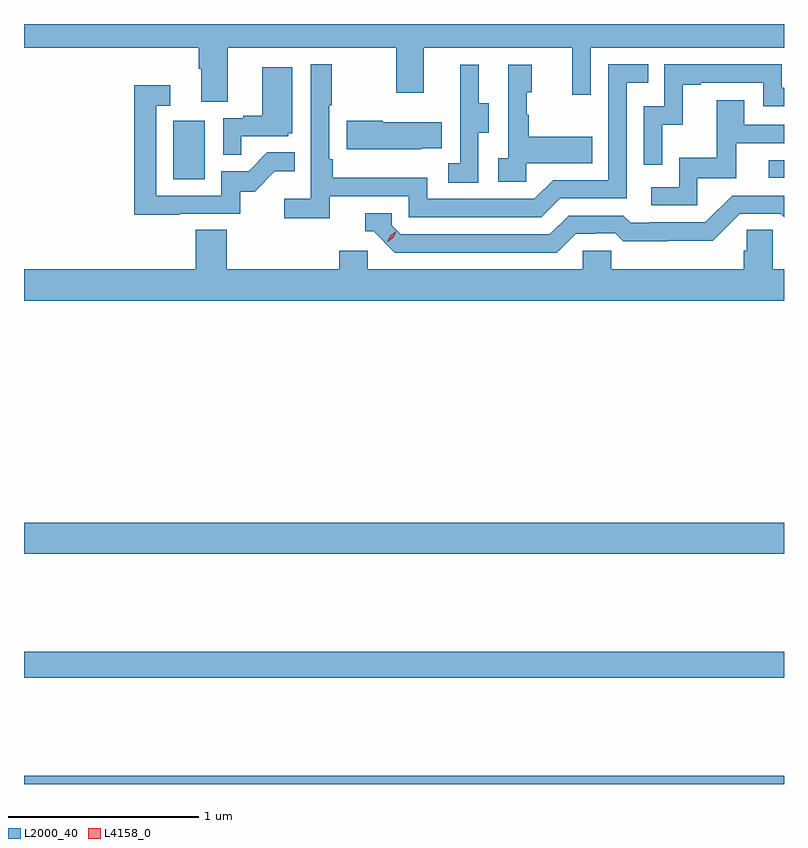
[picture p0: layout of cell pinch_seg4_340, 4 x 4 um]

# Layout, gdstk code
import gdstk
lib = gdstk.Library(unit=1e-6, precision=1e-09)
def R(c, l, rs):  # rectangles x0, y0, x1, y1
    for r in rs: c.add(gdstk.rectangle(r[:2], r[2:], *l))
def P(c, l, *ps):  # polygons
    for p in ps: c.add(gdstk.Polygon(p, *l))
L2000_40 = (2000, 40)
L4158_0 = (4158, 0)

pinch_seg4_340 = lib.new_cell('pinch_seg4_340')
R(pinch_seg4_340, L2000_40, [(1007.912,804.932,1011.912,804.976), (1007.912,805.492,1011.912,805.628), (1007.912,806.144,1011.912,806.308), (1008.698,808.116,1008.862,808.423), (1011.831,808.122,1011.912,808.215)])
P(pinch_seg4_340, L2000_40, [(1008.985,808.808),(1009.87,808.808),(1009.87,808.569),(1010.017,808.569),(1010.017,808.808),(1010.798,808.808),(1010.798,808.56),(1010.895,808.56),(1010.895,808.808),(1011.912,808.808),(1011.912,808.932),(1007.912,808.932),(1007.912,808.808),(1008.833,808.808),(1008.833,808.696),(1008.845,808.696),(1008.845,808.522),(1008.985,808.522)],
  [(1009.52,808.026),(1009.938,808.026),(1009.938,807.915),(1010.635,807.915),(1010.734,808.014),(1011.084,808.014),(1011.084,808.623),(1011.197,808.623),(1011.197,808.719),(1010.988,808.719),(1010.988,808.11),(1010.697,808.11),(1010.598,808.011),(1010.034,808.011),(1010.034,808.123),(1009.538,808.123),(1009.538,808.219),(1009.518,808.219),(1009.518,808.504),(1009.531,808.504),(1009.531,808.72),(1009.422,808.72),(1009.422,808.012),(1009.281,808.012),(1009.281,807.91),(1009.52,807.91)],
  [(1011.27,808.403),(1011.38,808.403),(1011.38,808.611),(1011.475,808.611),(1011.475,808.623),(1011.804,808.623),(1011.804,808.5),(1011.912,808.5),(1011.912,808.596),(1011.9,808.596),(1011.9,808.719),(1011.282,808.719),(1011.282,808.5),(1011.174,808.5),(1011.174,808.191),(1011.27,808.191)],
  [(1010.556,808.199),(1010.903,808.199),(1010.903,808.339),(1010.569,808.339),(1010.569,808.454),(1010.559,808.454),(1010.559,808.572),(1010.584,808.572),(1010.584,808.717),(1010.46,808.717),(1010.46,808.226),(1010.409,808.226),(1010.409,808.101),(1010.556,808.101)],
  [(1010.304,808.36),(1010.359,808.36),(1010.359,808.515),(1010.305,808.515),(1010.305,808.717),(1010.207,808.717),(1010.207,808.503),(1010.208,808.503),(1010.208,808.199),(1010.145,808.199),(1010.145,808.096),(1010.304,808.096)],
  [(1009.055,808.341),(1009.302,808.341),(1009.302,808.356),(1009.324,808.356),(1009.324,808.705),(1009.166,808.705),(1009.166,808.45),(1009.067,808.45),(1009.067,808.437),(1008.96,808.437),(1008.96,808.243),(1009.055,808.243)],
  [(1008.731,807.933),(1009.05,807.933),(1009.05,808.05),(1009.126,808.05),(1009.233,808.157),(1009.337,808.157),(1009.337,808.256),(1009.193,808.256),(1009.095,808.158),(1008.951,808.158),(1008.951,808.029),(1008.609,808.029),(1008.609,808.503),(1008.682,808.503),(1008.682,808.609),(1008.493,808.609),(1008.493,807.928),(1008.731,807.928)],
  [(1011.456,808.119),(1011.661,808.119),(1011.661,808.305),(1011.912,808.305),(1011.912,808.401),(1011.703,808.401),(1011.703,808.531),(1011.559,808.531),(1011.559,808.228),(1011.36,808.228),(1011.36,808.074),(1011.213,808.074),(1011.213,807.978),(1011.456,807.978)],
  [(1010.003,808.277),(1010.111,808.277),(1010.111,808.414),(1009.801,808.414),(1009.801,808.422),(1009.61,808.422),(1009.61,808.274),(1010.003,808.274)],
  [(1010.815,807.828),(1010.922,807.828),(1010.922,807.831),(1011.025,807.831),(1011.067,807.789),(1011.3,807.789),(1011.3,807.791),(1011.536,807.791),(1011.678,807.933),(1011.894,807.933),(1011.912,807.915),(1011.912,808.029),(1011.639,808.029),(1011.498,807.888),(1011.205,807.888),(1011.205,807.885),(1011.106,807.885),(1011.067,807.924),(1010.778,807.924),(1010.679,807.825),(1009.896,807.825),(1009.848,807.873),(1009.848,807.936),(1009.709,807.936),(1009.709,807.84),(1009.752,807.84),(1009.863,807.729),(1010.716,807.729)],
  [(1011.912,807.64),(1011.852,807.64),(1011.852,807.848),(1011.715,807.848),(1011.715,807.738),(1011.701,807.738),(1011.701,807.64),(1011.003,807.64),(1011.003,807.738),(1010.853,807.738),(1010.853,807.64),(1009.722,807.64),(1009.722,807.738),(1009.571,807.738),(1009.571,807.64),(1008.98,807.64),(1008.98,807.848),(1008.815,807.848),(1008.815,807.64),(1007.912,807.64),(1007.912,807.476),(1011.912,807.476)])
P(pinch_seg4_340, L4158_0, [(1009.825,807.786),(1009.825,807.787),(1009.841,807.82),(1009.871,807.84),(1009.871,807.84),(1009.871,807.84),(1009.856,807.807),(1009.826,807.786)])

lib.write_gds('pinch_seg4_340.gds')
